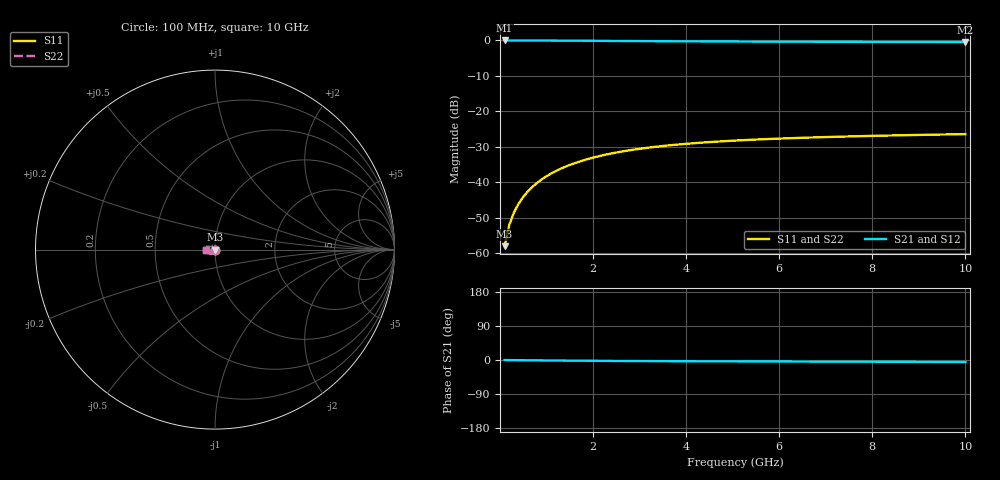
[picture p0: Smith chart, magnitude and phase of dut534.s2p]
! Touchstone file exported from HFSS 2024.1.0
!  File:  C:/UserFiles/LocalFiles/RDL_TSV_Batchsim/temp_TSV1_534_1779704782.aedt
!  Generated:  06:32:08 PM May 25, 2026
!  Design:  TSV1
!  Project:  temp_TSV1_534_1779704782
!  Setup:  Setup1
!  Solution:  Sweep
! Variables:
!  dtsv = 9.84um
!  hbump = 3um
!  htsv = 82.69um
!  lrdl = 252.1521522um
!  p = 40
!  p1 = 46.67um
!  t = 500um
!  trdl = 3um
!  wrdl = 24.89489489um
# GHz S MA R 50.000000
! Terminal data exported
! Port[1] = TSV22_T1
! Port[2] = TSV22_T2
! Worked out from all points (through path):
!   100 points, 100 MHz to 10 GHz, reference 50 ohm
!   highest |S21| = 0.00 dB at 100 MHz (marker M1); lowest = -0.4 dB at 10 GHz (marker M2)
!   lowest |S11| = -58.0 dB at 100 MHz (marker M3), VSWR 1.00, Z = 50 - j0.125 ohm
!   |S11| at or under -10 dB: start of sweep to end of sweep
!   |S22| runs from -58.0 to -26.4 dB; largest |S21 - S12| = 3.3e-15
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0.1  0.001256 -84.6  0.9998 -0.1  0.9998 -0.1  0.001256 -84.6
! Gamma 0 0 0 0
! Port Impedance 50 0 50 0
0.2  0.002499 -89.7  0.9997 -0.2  0.9997 -0.2  0.002499 -89.7
0.3  0.003745 -92.5  0.9995 -0.4  0.9995 -0.4  0.003745 -92.5
0.4  0.004987 -94.7  0.9992 -0.5  0.9992 -0.5  0.004987 -94.7
0.5  0.006222 -96.8  0.9989 -0.6  0.9989 -0.6  0.006222 -96.8
0.6  0.007444 -98.7  0.9984 -0.7  0.9984 -0.7  0.007444 -98.7
0.7  0.008652 -100.5  0.998 -0.9  0.998 -0.9  0.008652 -100.5
0.8  0.009843 -102.3  0.9975 -1.0  0.9975 -1.0  0.009843 -102.3
0.9  0.01101 -104.1  0.9969 -1.1  0.9969 -1.1  0.01101 -104.1
1.1  0.01329 -107.5  0.9956 -1.3  0.9956 -1.3  0.01329 -107.5
1.4  0.01652 -112.3  0.9933 -1.6  0.9933 -1.6  0.01652 -112.3
1.6  0.01855 -115.3  0.9917 -1.8  0.9917 -1.8  0.01855 -115.3
1.8  0.02046 -118.3  0.9899 -2.0  0.9899 -2.0  0.02046 -118.3
2.1  0.02311 -122.4  0.9872 -2.2  0.9872 -2.2  0.02311 -122.4
2.5  0.02627 -127.6  0.9836 -2.5  0.9836 -2.5  0.02627 -127.6
2.9  0.02902 -132.3  0.9802 -2.7  0.9802 -2.7  0.02902 -132.3
3.4  0.03195 -137.6  0.9761 -3.0  0.9761 -3.0  0.03195 -137.6
4.2  0.03569 -145.1  0.9704 -3.3  0.9704 -3.3  0.03569 -145.1
5.1  0.03887 -152.1  0.9652 -3.7  0.9652 -3.7  0.03887 -152.1
6.7  0.04283 -162.1  0.9585 -4.2  0.9585 -4.2  0.04283 -162.1
8.4  0.0457 -170.6  0.9537 -4.7  0.9537 -4.7  0.0457 -170.6
10  0.04774 -177.2  0.9506 -5.3  0.9506 -5.3  0.04774 -177.2
